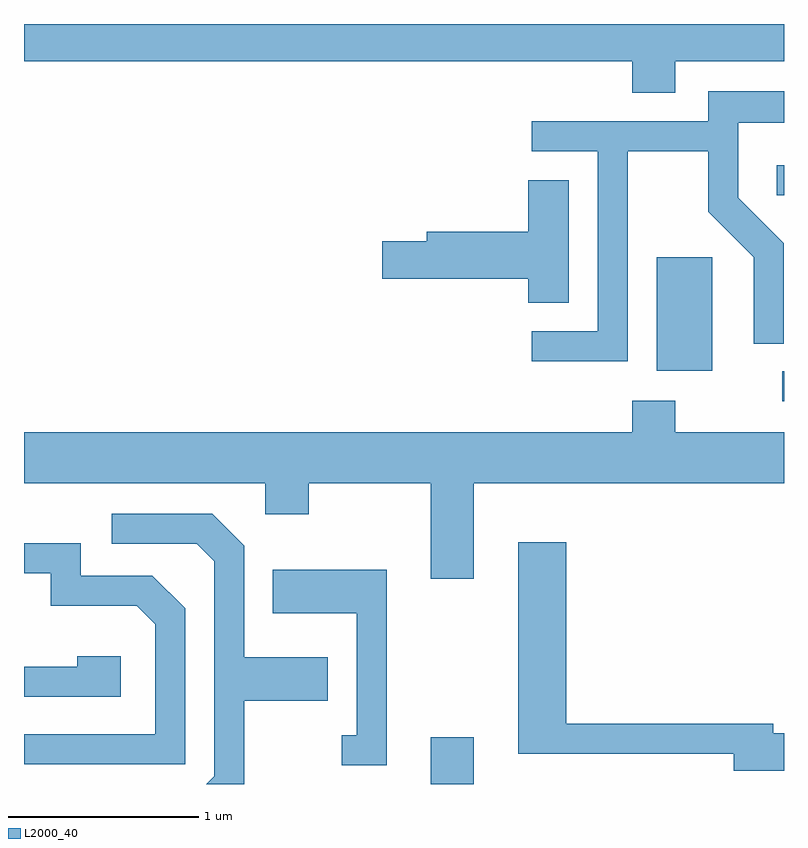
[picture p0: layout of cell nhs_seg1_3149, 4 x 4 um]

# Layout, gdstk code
import gdstk
lib = gdstk.Library(unit=1e-6, precision=1e-09)
def R(c, l, rs):  # rectangles x0, y0, x1, y1
    for r in rs: c.add(gdstk.rectangle(r[:2], r[2:], *l))
def P(c, l, *ps):  # polygons
    for p in ps: c.add(gdstk.Polygon(p, *l))
L2000_40 = (2000, 40)

nhs_seg1_3149 = lib.new_cell('nhs_seg1_3149')
R(nhs_seg1_3149, L2000_40, [(281.751,955.712,281.979,955.959), (283.603,957.726,283.611,957.884), (282.941,957.886,283.234,958.484), (283.573,958.811,283.611,958.969)])
P(nhs_seg1_3149, L2000_40, [(283.039,959.516),(283.611,959.516),(283.611,959.712),(279.611,959.712),(279.611,959.516),(282.811,959.516),(282.811,959.351),(283.039,959.351)],
  [(282.789,959.041),(283.211,959.041),(283.211,958.724),(283.451,958.484),(283.451,958.028),(283.609,958.028),(283.609,958.557),(283.369,958.797),(283.369,959.191),(283.611,959.191),(283.611,959.359),(283.211,959.359),(283.211,959.199),(282.283,959.199),(282.283,959.041),(282.631,959.041),(282.631,958.094),(282.283,958.094),(282.283,957.936),(282.789,957.936)],
  [(282.479,958.889),(282.266,958.889),(282.266,958.619),(281.731,958.619),(281.731,958.569),(281.496,958.569),(281.496,958.371),(282.266,958.371),(282.266,958.246),(282.479,958.246)],
  [(281.979,957.296),(283.611,957.296),(283.611,957.564),(283.039,957.564),(283.039,957.729),(282.811,957.729),(282.811,957.564),(279.611,957.564),(279.611,957.296),(280.881,957.296),(280.881,957.131),(281.109,957.131),(281.109,957.296),(281.751,957.296),(281.751,956.791),(281.979,956.791)],
  [(280.769,956.151),(281.209,956.151),(281.209,956.379),(280.769,956.379),(280.769,956.967),(280.602,957.134),(280.073,957.134),(280.073,956.976),(280.519,956.976),(280.611,956.884),(280.611,955.752),(280.571,955.712),(280.769,955.712)],
  [(283.611,955.979),(283.554,955.979),(283.554,956.029),(282.464,956.029),(282.464,956.984),(282.211,956.984),(282.211,955.871),(283.346,955.871),(283.346,955.781),(283.611,955.781)],
  [(280.459,956.637),(280.287,956.809),(279.909,956.809),(279.909,956.979),(279.611,956.979),(279.611,956.821),(279.751,956.821),(279.751,956.651),(280.204,956.651),(280.301,956.554),(280.301,955.974),(279.611,955.974),(279.611,955.816),(280.459,955.816)],
  [(281.519,956.839),(280.921,956.839),(280.921,956.611),(281.361,956.611),(281.361,955.969),(281.283,955.969),(281.283,955.811),(281.519,955.811)],
  [(280.119,956.384),(279.891,956.384),(279.891,956.329),(279.611,956.329),(279.611,956.171),(280.119,956.171)])

lib.write_gds('nhs_seg1_3149.gds')
